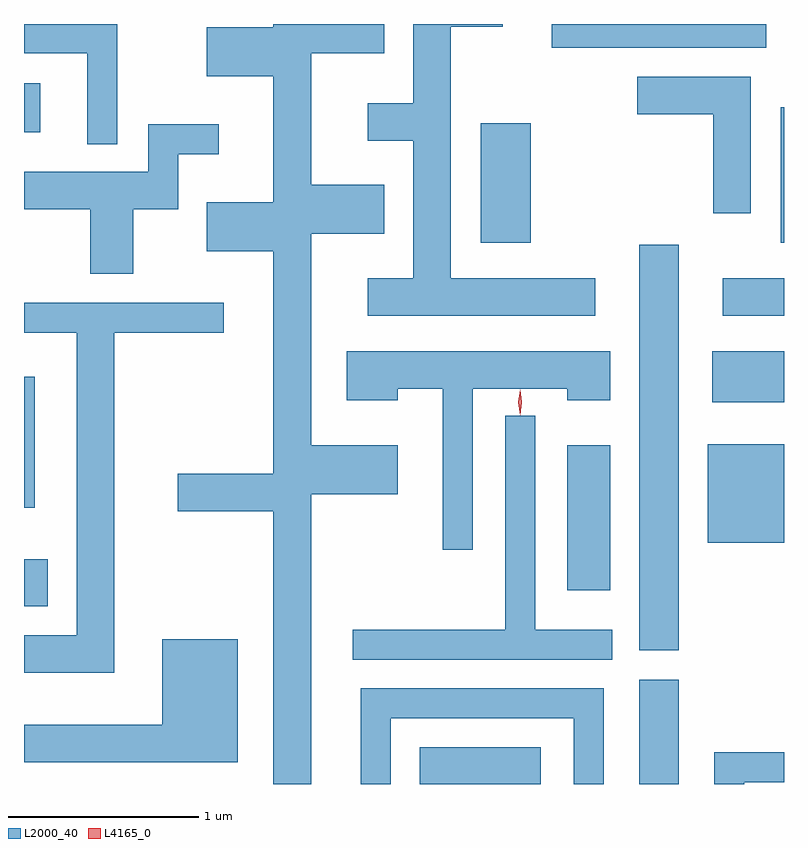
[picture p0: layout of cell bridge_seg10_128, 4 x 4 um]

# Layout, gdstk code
import gdstk
lib = gdstk.Library(unit=1e-6, precision=1e-09)
def R(c, l, rs):  # rectangles x0, y0, x1, y1
    for r in rs: c.add(gdstk.rectangle(r[:2], r[2:], *l))
def P(c, l, *ps):  # polygons
    for p in ps: c.add(gdstk.Polygon(p, *l))
L2000_40 = (2000, 40)
L4165_0 = (4165, 0)

bridge_seg10_128 = lib.new_cell('bridge_seg10_128')
R(bridge_seg10_128, L2000_40, [(1630.341,2125.456,1630.979,2125.649), (1631.496,2125.456,1631.704,2126.004), (1631.496,2126.161,1631.704,2128.294), (1628.258,2126.391,1628.384,2126.639), (1631.116,2126.476,1631.344,2127.239), (1631.856,2126.726,1632.258,2127.244), (1628.258,2126.911,1628.314,2127.599), (1631.881,2127.466,1632.258,2127.734), (1631.936,2127.921,1632.258,2128.119), (1630.661,2128.306,1630.924,2128.934), (1632.241,2128.306,1632.258,2129.019), (1628.258,2128.886,1628.344,2129.144), (1631.036,2129.331,1632.164,2129.456)])
P(bridge_seg10_128, L2000_40, [(1629.769,2126.981),(1630.224,2126.981),(1630.224,2127.239),(1629.769,2127.239),(1629.769,2128.351),(1630.154,2128.351),(1630.154,2128.609),(1629.769,2128.609),(1629.769,2129.301),(1630.154,2129.301),(1630.154,2129.456),(1629.571,2129.456),(1629.571,2129.439),(1629.221,2129.439),(1629.221,2129.181),(1629.571,2129.181),(1629.571,2128.519),(1629.221,2128.519),(1629.221,2128.261),(1629.571,2128.261),(1629.571,2127.089),(1629.066,2127.089),(1629.066,2126.891),(1629.571,2126.891),(1629.571,2125.456),(1629.769,2125.456)],
  [(1631.264,2128.119),(1630.504,2128.119),(1630.504,2129.441),(1630.779,2129.441),(1630.779,2129.456),(1630.306,2129.456),(1630.306,2129.039),(1630.066,2129.039),(1630.066,2128.841),(1630.306,2128.841),(1630.306,2128.119),(1630.066,2128.119),(1630.066,2127.921),(1631.264,2127.921)],
  [(1628.749,2129.456),(1628.258,2129.456),(1628.258,2129.301),(1628.591,2129.301),(1628.591,2128.823),(1628.749,2128.823)],
  [(1632.084,2129.179),(1631.486,2129.179),(1631.486,2128.981),(1631.886,2128.981),(1631.886,2128.461),(1632.084,2128.461)],
  [(1628.834,2128.481),(1629.069,2128.481),(1629.069,2128.771),(1629.283,2128.771),(1629.283,2128.929),(1628.911,2128.929),(1628.911,2128.679),(1628.258,2128.679),(1628.258,2128.481),(1628.606,2128.481),(1628.606,2128.141),(1628.834,2128.141)],
  [(1628.734,2127.831),(1629.308,2127.831),(1629.308,2127.989),(1628.258,2127.989),(1628.258,2127.831),(1628.536,2127.831),(1628.536,2126.239),(1628.258,2126.239),(1628.258,2126.041),(1628.734,2126.041)],
  [(1630.619,2127.536),(1631.116,2127.536),(1631.116,2127.476),(1631.344,2127.476),(1631.344,2127.734),(1629.956,2127.734),(1629.956,2127.476),(1630.224,2127.476),(1630.224,2127.536),(1630.461,2127.536),(1630.461,2126.688),(1630.619,2126.688)],
  [(1631.353,2126.269),(1630.949,2126.269),(1630.949,2127.393),(1630.791,2127.393),(1630.791,2126.269),(1629.988,2126.269),(1629.988,2126.111),(1631.353,2126.111)],
  [(1629.384,2126.219),(1628.986,2126.219),(1628.986,2125.769),(1628.258,2125.769),(1628.258,2125.571),(1629.384,2125.571)],
  [(1630.189,2125.801),(1631.151,2125.801),(1631.151,2125.456),(1631.309,2125.456),(1631.309,2125.959),(1630.031,2125.959),(1630.031,2125.456),(1630.189,2125.456)],
  [(1632.049,2125.466),(1632.258,2125.466),(1632.258,2125.624),(1631.891,2125.624),(1631.891,2125.456),(1632.049,2125.456)])
P(bridge_seg10_128, L4165_0, [(1630.869,2127.398),(1630.869,2127.398),(1630.859,2127.464),(1630.869,2127.53),(1630.869,2127.531),(1630.87,2127.53),(1630.879,2127.464),(1630.87,2127.398)])

lib.write_gds('bridge_seg10_128.gds')
